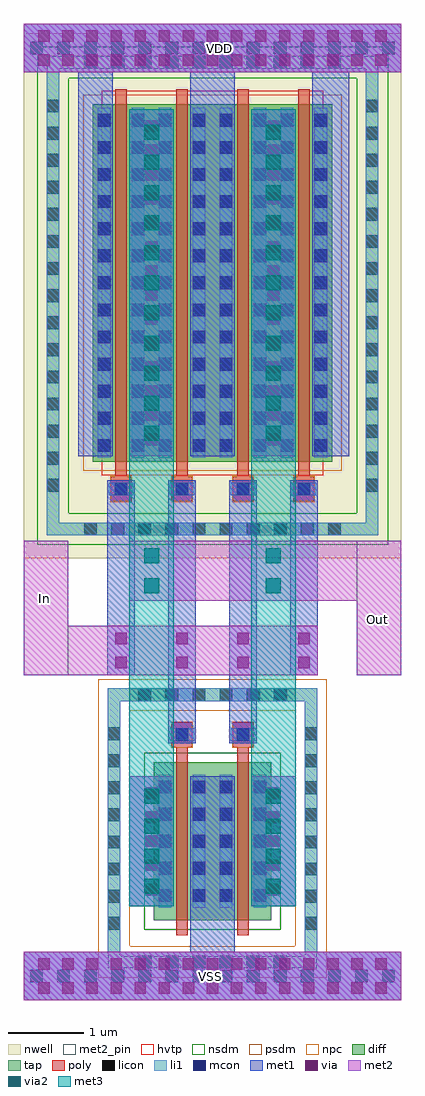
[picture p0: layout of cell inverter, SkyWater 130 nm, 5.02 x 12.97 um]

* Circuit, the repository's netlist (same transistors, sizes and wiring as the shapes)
** sch_path: /foss/designs/RO_Aging_UNICASS/HVT/inverter/inverter.sch
.subckt inverter VDD Out In VSS
*.PININFO VDD:B Out:B VSS:B In:B
M2 Out In VDD VDD sky130_fd_pr__pfet_01v8_hvt L=0.15 W=4.75 nf=1 ad='int((nf+1)/2) * W/nf * 0.29' as='int((nf+2)/2) * W/nf * 0.29'
+ pd='2*int((nf+1)/2) * (W/nf + 0.29)' ps='2*int((nf+2)/2) * (W/nf + 0.29)' nrd='0.29 / W' nrs='0.29 / W' sa=0 sb=0 sd=0 mult=4 m=4
M1 Out In VSS VSS sky130_fd_pr__nfet_01v8 L=0.15 W=2.1 nf=1 ad='int((nf+1)/2) * W/nf * 0.29' as='int((nf+2)/2) * W/nf * 0.29' pd='2*int((nf+1)/2) * (W/nf + 0.29)'
+ ps='2*int((nf+2)/2) * (W/nf + 0.29)' nrd='0.29 / W' nrs='0.29 / W' sa=0 sb=0 sd=0 mult=2 m=2
.ends
.end

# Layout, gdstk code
from math import pi, radians
import gdstk
lib = gdstk.Library(unit=1e-6, precision=1e-09)
def R(c, l, rs):  # rectangles x0, y0, x1, y1
    for r in rs: c.add(gdstk.rectangle(r[:2], r[2:], *l))
def A(c, l, x, y, w, h, nx, ny, dx, dy):  # array of equal rectangles
    R(c, l, [(x+i*dx, y+j*dy, x+i*dx+w, y+j*dy+h) for i in range(nx) for j in range(ny)])
nwell = (64, 20)
diff = (65, 20)
tap = (65, 44)
poly = (66, 20)
licon = (66, 44)
li1 = (67, 20)
mcon = (67, 44)
met1 = (68, 20)
via = (68, 44)
met2_pin = (69, 16)
met2 = (69, 20)
via2 = (69, 44)
met3 = (70, 20)
hvtp = (78, 44)
nsdm = (93, 44)
psdm = (94, 20)
npc = (95, 20)

vias_gen = lib.new_cell('vias_gen')
R(vias_gen, met2, [(0,0,0.59,0.8)])
R(vias_gen, via2, [(0.195,0.1,0.395,0.3), (0.195,0.5,0.395,0.7)])
R(vias_gen, met3, [(0,0,0.59,0.8)])

vias_gen_10 = lib.new_cell('vias_gen$10')
R(vias_gen_10, li1, [(0,0,5.02,0.64)])
A(vias_gen_10, mcon, 0.085, 0.235, 0.17, 0.17, 14, 1, 0.36, 0)
R(vias_gen_10, met1, [(0,0,5.02,0.64)])
A(vias_gen_10, via, 0.195, 0.085, 0.15, 0.15, 15, 2, 0.32, 0.32)
R(vias_gen_10, met2, [(0,0,5.02,0.64)])

nfet_2 = lib.new_cell('nfet$2')
R(nfet_2, diff, [(0,0,0.75,2.1)])
R(nfet_2, poly, [(0.3,-0.2,0.45,2.3), (0.24,2.3,0.51,2.63)])
A(nfet_2, licon, 0.065, 0.245, 0.17, 0.17, 1, 5, 0, 0.36)
A(nfet_2, licon, 0.515, 0.245, 0.17, 0.17, 1, 5, 0, 0.36)
R(nfet_2, licon, [(0.29,2.38,0.46,2.55)])
R(nfet_2, li1, [(0.065,0.165,0.235,1.935), (0.515,0.165,0.685,1.935), (0.21,2.38,0.54,2.55)])
A(nfet_2, mcon, 0.065, 0.245, 0.17, 0.17, 1, 5, 0, 0.36)
A(nfet_2, mcon, 0.515, 0.245, 0.17, 0.17, 1, 5, 0, 0.36)
R(nfet_2, mcon, [(0.29,2.38,0.46,2.55)])
R(nfet_2, met1, [(0.035,0.185,0.265,1.915), (0.485,0.185,0.715,1.915), (0.19,2.35,0.56,2.58)])
R(nfet_2, nsdm, [(-0.125,-0.125,0.875,2.225)])
R(nfet_2, npc, [(0.23,2.29,0.52,2.64)])

vias_gen_9 = lib.new_cell('vias_gen$9')
R(vias_gen_9, met1, [(0,0,1.73,0.59)])
A(vias_gen_9, via, 0.15, 0.22, 0.15, 0.15, 5, 1, 0.32, 0)
R(vias_gen_9, met2, [(0,0,1.73,0.59)])
A(vias_gen_9, via2, 0.165, 0.195, 0.2, 0.2, 4, 1, 0.4, 0)
R(vias_gen_9, met3, [(0,0,1.73,0.59)])

vias_gen_1 = lib.new_cell('vias_gen$1')
R(vias_gen_1, met1, [(0,0,0.37,0.66)])
R(vias_gen_1, via, [(0.11,0.095,0.26,0.245), (0.11,0.415,0.26,0.565)])
R(vias_gen_1, met2, [(0,0,0.37,0.66)])

vias_gen_5 = lib.new_cell('vias_gen$5')
R(vias_gen_5, met1, [(0,0,4.61,0.59)])
A(vias_gen_5, via, 0.15, 0.22, 0.15, 0.15, 14, 1, 0.32, 0)
R(vias_gen_5, met2, [(0,0,4.61,0.59)])
A(vias_gen_5, via2, 0.205, 0.195, 0.2, 0.2, 11, 1, 0.4, 0)
R(vias_gen_5, met3, [(0,0,4.61,0.59)])

pfet_2 = lib.new_cell('pfet$2')
R(pfet_2, nwell, [(-0.305,-0.72,1.055,5.13)])
R(pfet_2, diff, [(0,0,0.75,4.75)])
R(pfet_2, poly, [(0.24,-0.53,0.51,-0.2), (0.3,-0.2,0.45,4.95)])
A(pfet_2, licon, 0.065, 0.13, 0.17, 0.17, 1, 13, 0, 0.36)
A(pfet_2, licon, 0.515, 0.13, 0.17, 0.17, 1, 13, 0, 0.36)
R(pfet_2, licon, [(0.29,-0.45,0.46,-0.28)])
R(pfet_2, li1, [(0.21,-0.45,0.54,-0.28), (0.065,0.05,0.235,4.7), (0.515,0.05,0.685,4.7)])
A(pfet_2, mcon, 0.065, 0.13, 0.17, 0.17, 1, 13, 0, 0.36)
A(pfet_2, mcon, 0.515, 0.13, 0.17, 0.17, 1, 13, 0, 0.36)
R(pfet_2, mcon, [(0.29,-0.45,0.46,-0.28)])
R(pfet_2, met1, [(0.19,-0.48,0.56,-0.25), (0.035,0.07,0.265,4.68), (0.485,0.07,0.715,4.68)])
R(pfet_2, hvtp, [(0.12,-0.18,0.63,4.93)])
R(pfet_2, psdm, [(-0.125,-0.125,0.875,4.875)])
R(pfet_2, npc, [(0.23,-0.54,0.52,-0.19)])

inverter = lib.new_cell('inverter')
R(inverter, nwell, [(4.425,0.735,8.965,7.715), (8.965,0.735,9.445,7.715)])
A(inverter, diff, 6.095, 2.02, 0.155, 4.75, 3, 1, 0.81, 0)
R(inverter, diff, [(6.905,-4.075,6.965,-1.975)])
R(inverter, tap, [(5.54,-4.715,5.71,-0.995), (5.71,-4.715,8.16,-4.545), (8.16,-4.715,8.33,-0.995), (5.71,-1.165,8.16,-0.995), (4.73,1.04,8.97,1.21), (4.73,1.04,4.9,7.24), (4.9,1.04,8.49,1.21), (8.97,1.04,9.14,7.24), (4.73,7.24,9.14,7.41)])
A(inverter, licon, 5.95, -4.715, 0.17, 0.17, 6, 2, 0.36, 3.55)
A(inverter, licon, 5.54, -4.2, 0.17, 0.17, 1, 8, 0, 0.36)
A(inverter, licon, 8.16, -4.2, 0.17, 0.17, 1, 8, 0, 0.36)
A(inverter, licon, 5.23, 1.04, 0.17, 0.17, 10, 2, 0.36, 6.2)
A(inverter, licon, 4.73, 1.62, 0.17, 0.17, 1, 15, 0, 0.36)
A(inverter, licon, 8.97, 1.62, 0.17, 0.17, 1, 15, 0, 0.36)
R(inverter, li1, [(5.54,-4.715,5.71,-0.995), (5.71,-4.715,8.16,-4.545), (8.16,-4.715,8.33,-0.995), (5.71,-1.165,8.16,-0.995), (4.73,1.04,8.97,1.21), (4.73,1.04,4.9,7.24), (8.97,1.04,9.14,7.24), (4.73,7.24,9.14,7.41)])
A(inverter, met1, 5.535, -0.16, 0.37, 1.7, 4, 1, 0.81, 0)
A(inverter, met1, 6.06, 2.09, 0.13, 4.61, 3, 1, 0.81, 0)
R(inverter, met1, [(6.64,-4.495,7.23,-3.89), (6.87,-3.89,7,-2.16), (6.345,-1.495,6.715,-0.49), (7.155,-1.495,7.525,-0.49), (5.15,2.09,5.61,7.195), (8.26,2.09,8.75,7.195), (6.64,6.7,7.23,7.195)])
R(inverter, met2_pin, [(4.425,-5.135,9.445,-4.495), (4.425,-0.82,5.015,0.97), (8.855,-0.82,9.445,0.97), (4.425,7.195,9.445,7.835)])
R(inverter, met2, [(4.425,-5.135,9.445,-4.495), (4.425,-0.82,8.335,-0.16), (8.855,-0.82,9.445,0.17), (4.425,-0.16,5.015,0.97), (5.83,0.17,9.445,0.97), (4.425,7.195,9.445,7.835)])
R(inverter, met3, [(5.83,-2.16,6.42,0.17), (7.45,-2.16,8.04,0.17), (5.83,0.97,6.42,2.09), (7.45,0.97,8.04,2.09)])
A(inverter, hvtp, 5.975, 1.84, 0.3, 5.11, 3, 1, 0.81, 0)
R(inverter, nsdm, [(4.605,0.915,9.27,1.335), (4.605,1.335,5.025,7.115), (8.85,1.335,9.27,7.115), (4.605,7.115,9.27,7.535)])
R(inverter, psdm, [(5.415,-4.84,5.835,-0.87), (5.835,-4.84,8.035,-4.42), (8.035,-4.84,8.455,-0.87), (5.835,-1.29,8.035,-0.87)])
inverter.add(gdstk.Reference(vias_gen, (5.83,0.17)))
inverter.add(gdstk.Reference(vias_gen, (7.45,0.17)))
inverter.add(gdstk.Reference(vias_gen_10, (4.425,-5.135)))
inverter.add(gdstk.Reference(nfet_2, (6.905,-4.075), rotation=pi, x_reflection=True))
inverter.add(gdstk.Reference(nfet_2, (7.715,-4.075), rotation=pi, x_reflection=True))
inverter.add(gdstk.Reference(vias_gen_9, (6.42,-3.89), rotation=pi/2))
inverter.add(gdstk.Reference(vias_gen_9, (8.04,-3.89), rotation=pi/2))
inverter.add(gdstk.Reference(vias_gen_1, (5.535,-0.82)))
inverter.add(gdstk.Reference(vias_gen_1, (7.155,-0.82)))
inverter.add(gdstk.Reference(vias_gen_1, (7.965,-0.82)))
inverter.add(gdstk.Reference(vias_gen_1, (6.345,-0.82)))
inverter.add(gdstk.Reference(vias_gen_5, (8.04,2.09), rotation=pi/2))
inverter.add(gdstk.Reference(vias_gen_10, (4.425,7.195)))
inverter.add(gdstk.Reference(vias_gen_5, (6.42,2.09), rotation=pi/2))
inverter.add(gdstk.Reference(pfet_2, (8.525,2.02), rotation=pi, x_reflection=True))
inverter.add(gdstk.Reference(pfet_2, (7.715,2.02), rotation=pi, x_reflection=True))
inverter.add(gdstk.Reference(pfet_2, (6.905,2.02), rotation=pi, x_reflection=True))
inverter.add(gdstk.Reference(pfet_2, (6.095,2.02), rotation=pi, x_reflection=True))
inverter.add(gdstk.Label('VSS', (6.915,-4.82), layer=69, texttype=5))
inverter.add(gdstk.Label('VDD', (7.03,7.51), layer=69, texttype=5))
inverter.add(gdstk.Label('In', (4.705,0.195), layer=69, texttype=5))
inverter.add(gdstk.Label('Out', (9.13,-0.08), layer=69, texttype=5))

lib.write_gds('inverter.gds')
